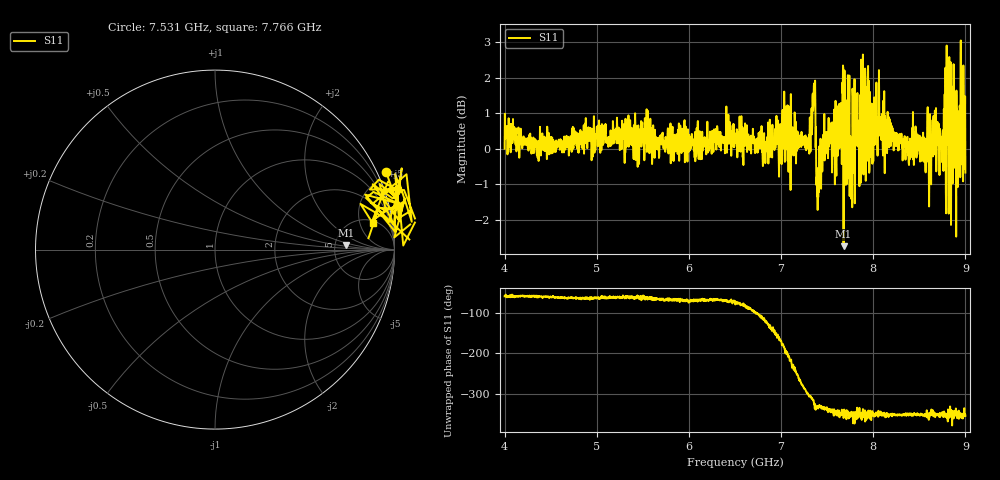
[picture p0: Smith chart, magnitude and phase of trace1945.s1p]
! Created with skrf 1.8.0 (http://scikit-rf.org).
# Hz S RI R 50.0
!freq ReS11 ImS11
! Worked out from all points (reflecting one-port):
!   1601 points, 4 GHz to 9 GHz, reference 50 ohm
!   lowest |S11| = -2.7 dB at 7.678 GHz (marker M1), VSWR 6.37, Z = 315 + j34.8 ohm
!   phase of S11 starts at -60 deg and turns -292 deg over the sweep
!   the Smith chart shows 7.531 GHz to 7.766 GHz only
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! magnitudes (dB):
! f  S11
! 4 GHz  0.0
! 4.625 GHz  -0.1
! 5.25 GHz  0.0
! 5.875 GHz  0.2
! 6.5 GHz  0.3
! 6.819 GHz  -0.2
! 7.069 GHz  1.2
! 7.125 GHz  0.6
! 7.294 GHz  0.0
! 7.347 GHz  1.1
! 7.409 GHz  -1.2
! 7.478 GHz  -0.1
! 7.678 GHz  -2.7
! 7.75 GHz  0.4
! 7.769 GHz  -0.9
! 7.8 GHz  -1.5
! 7.859 GHz  1.5
! 7.928 GHz  1.7
! 7.981 GHz  0.0
! 8.05 GHz  0.7
! 8.375 GHz  0.0
! 8.622 GHz  -0.6
! 8.656 GHz  0.9
! 8.766 GHz  1.1
! 8.816 GHz  -0.2
! 8.919 GHz  -0.2
! 8.959 GHz  2.1
! 9 GHz  -0.7
